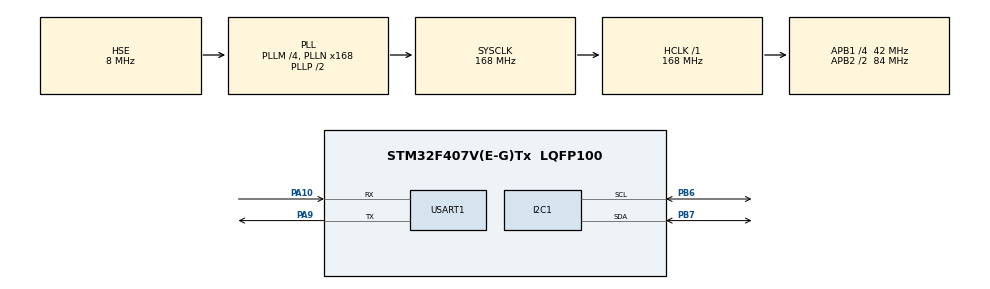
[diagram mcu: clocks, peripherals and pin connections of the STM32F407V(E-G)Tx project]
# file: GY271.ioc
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Mcu.Family=STM32F4
Mcu.Name=STM32F407V(E-G)Tx
Mcu.Package=LQFP100
NVIC.PriorityGroup=NVIC_PRIORITYGROUP_4
PA10.Mode=Asynchronous
PA10.Signal=USART1_RX
PA13.Mode=Serial_Wire
PA13.Signal=SYS_JTMS-SWDIO
PA14.Mode=Serial_Wire
PA14.Signal=SYS_JTCK-SWCLK
PA9.Mode=Asynchronous
PA9.Signal=USART1_TX
PB6.Mode=I2C
PB6.Signal=I2C1_SCL
PB7.Mode=I2C
PB7.Signal=I2C1_SDA
PH0-OSC_IN.Mode=HSE-External-Oscillator
PH0-OSC_IN.Signal=RCC_OSC_IN
PH1-OSC_OUT.Mode=HSE-External-Oscillator
PH1-OSC_OUT.Signal=RCC_OSC_OUT
ProjectManager.HeapSize=0x200
ProjectManager.StackSize=0x400
ProjectManager.TargetToolchain=MDK-ARM V5.27
RCC.48MHZClocksFreq_Value=84000000
RCC.AHBFreq_Value=168000000
RCC.APB1CLKDivider=RCC_HCLK_DIV4
RCC.APB1Freq_Value=42000000
RCC.APB1TimFreq_Value=84000000
RCC.APB2CLKDivider=RCC_HCLK_DIV2
RCC.APB2Freq_Value=84000000
RCC.APB2TimFreq_Value=168000000
RCC.CortexFreq_Value=168000000
RCC.HCLKFreq_Value=168000000
RCC.HSE_VALUE=8000000
RCC.HSI_VALUE=16000000
RCC.LSE_VALUE=32768
RCC.PLLM=4
RCC.PLLN=168
RCC.PLLSourceVirtual=RCC_PLLSOURCE_HSE
RCC.SYSCLKFreq_VALUE=168000000
RCC.SYSCLKSource=RCC_SYSCLKSOURCE_PLLCLK
RCC.VCOOutputFreq_Value=336000000
USART1.VirtualMode=VM_ASYNC
board=custom

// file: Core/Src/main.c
/* USER CODE BEGIN Header */
/**
  ******************************************************************************
  * @file           : main.c
  * @brief          : Main program body
  ******************************************************************************
  * @attention
  *
  * <h2><center>&copy; Copyright (c) 2021 STMicroelectronics.
  * All rights reserved.</center></h2>
  *
  * This software component is licensed by ST under BSD 3-Clause license,
  * the "License"; You may not use this file except in compliance with the
  * License. You may obtain a copy of the License at:
  *                        opensource.org/licenses/BSD-3-Clause
  *
  ******************************************************************************
  */
/* USER CODE END Header */
#include "main.h"
#include "i2c.h"
#include "usart.h"
#include "gpio.h"

/* USER CODE BEGIN Includes */
#include "Hc.h"
/* USER CODE END Includes */

/* USER CODE BEGIN PTD */
uint16_t tempo;
uint16_t data[3];
/* USER CODE END PTD */

void SystemClock_Config(void);

int main(void)
{

  /* MCU Configuration--------------------------------------------------------*/

  /* Reset of all peripherals, Initializes the Flash interface and the Systick. */
  HAL_Init();

  /* Configure the system clock */
  SystemClock_Config();

  /* Initialize all configured peripherals */
  MX_GPIO_Init();
  MX_I2C1_Init();
  MX_USART1_UART_Init();
  /* USER CODE BEGIN 2 */
  HcInit();
  /* USER CODE END 2 */

  /* Infinite loop */
  while (1)
  {

    /* USER CODE BEGIN 3 */
    tempo = ReadReg_HMC5883(X_MSB);
    HAL_Delay(50);
    data[0] = (tempo<<8)+ReadReg_HMC5883(X_LSB);
    HAL_Delay(50);
    tempo = ReadReg_HMC5883(Y_MSB);
    HAL_Delay(50);
    data[1] = (tempo<<8)+ReadReg_HMC5883(Y_LSB);
    HAL_Delay(50);
    tempo = ReadReg_HMC5883(Z_MSB);
    HAL_Delay(50);
    data[2] = (tempo<<8)+ReadReg_HMC5883(Z_LSB);
    printf("X = %hu\n", data[0]);
    printf("Y = %hu\n", data[1]);
    printf("Z = %hu\n", data[2]);
    HAL_Delay(100);
  }
  /* USER CODE END 3 */
}

void SystemClock_Config(void)
{
  RCC_OscInitTypeDef RCC_OscInitStruct = {0};
  RCC_ClkInitTypeDef RCC_ClkInitStruct = {0};

  /** Configure the main internal regulator output voltage
  */
  __HAL_RCC_PWR_CLK_ENABLE();
  __HAL_PWR_VOLTAGESCALING_CONFIG(PWR_REGULATOR_VOLTAGE_SCALE1);
  /** Initializes the RCC Oscillators according to the specified parameters
  * in the RCC_OscInitTypeDef structure.
  */
  RCC_OscInitStruct.OscillatorType = RCC_OSCILLATORTYPE_HSE;
  RCC_OscInitStruct.HSEState = RCC_HSE_ON;
  RCC_OscInitStruct.PLL.PLLState = RCC_PLL_ON;
  RCC_OscInitStruct.PLL.PLLSource = RCC_PLLSOURCE_HSE;
  RCC_OscInitStruct.PLL.PLLM = 4;
  RCC_OscInitStruct.PLL.PLLN = 168;
  RCC_OscInitStruct.PLL.PLLP = RCC_PLLP_DIV2;
  RCC_OscInitStruct.PLL.PLLQ = 4;
  if (HAL_RCC_OscConfig(&RCC_OscInitStruct) != HAL_OK)
  {
    Error_Handler();
  }
  /** Initializes the CPU, AHB and APB buses clocks
  */
  RCC_ClkInitStruct.ClockType = RCC_CLOCKTYPE_HCLK|RCC_CLOCKTYPE_SYSCLK
                              |RCC_CLOCKTYPE_PCLK1|RCC_CLOCKTYPE_PCLK2;
  RCC_ClkInitStruct.SYSCLKSource = RCC_SYSCLKSOURCE_PLLCLK;
  RCC_ClkInitStruct.AHBCLKDivider = RCC_SYSCLK_DIV1;
  RCC_ClkInitStruct.APB1CLKDivider = RCC_HCLK_DIV4;
  RCC_ClkInitStruct.APB2CLKDivider = RCC_HCLK_DIV2;

  if (HAL_RCC_ClockConfig(&RCC_ClkInitStruct, FLASH_LATENCY_5) != HAL_OK)
  {
    Error_Handler();
  }
}

void Error_Handler(void)
{
  __disable_irq();
  while (1)
  {
  }
}

/************************ (C) COPYRIGHT STMicroelectronics *****END OF FILE****/
